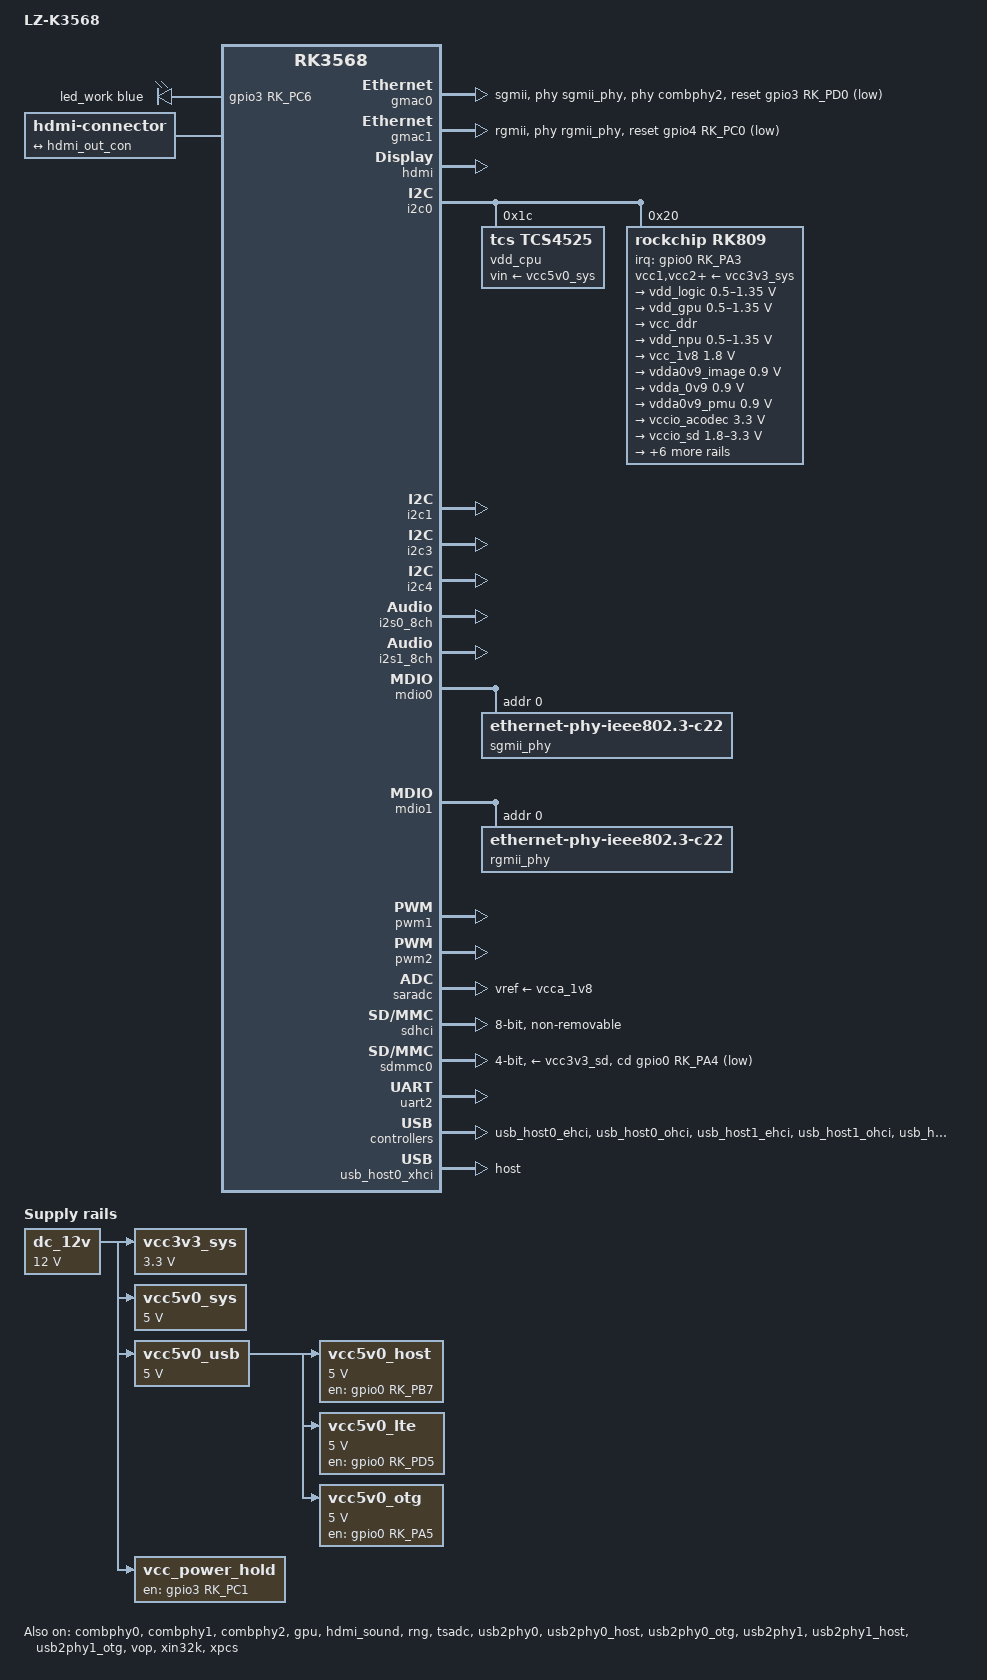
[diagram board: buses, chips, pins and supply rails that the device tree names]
// SPDX-License-Identifier: (GPL-2.0+ OR MIT)
/*
 * Copyright (c) 2021 Rockchip Electronics Co., Ltd.
 *
 */

/dts-v1/;
#include <dt-bindings/gpio/gpio.h>
#include <dt-bindings/leds/common.h>
#include <dt-bindings/pinctrl/rockchip.h>
#include <dt-bindings/soc/rockchip,vop2.h>
#include "rk3568.dtsi"

/ {
	model = "LZ-K3568";
	compatible = "rockchip,rk3568-evb1-v10", "rockchip,rk3568";

	aliases {
		ethernet0 = &gmac0;
		ethernet1 = &gmac1;
		mmc0 = &sdmmc0;
		mmc1 = &sdhci;
	};

	chosen: chosen {
		stdout-path = "serial2:1500000n8";
	};

	leds {
		compatible = "gpio-leds";

		led_work: led-0 {
			gpios = <&gpio3 RK_PC6 GPIO_ACTIVE_HIGH>; // bsp
			function = LED_FUNCTION_HEARTBEAT;
			color = <LED_COLOR_ID_BLUE>;
			linux,default-trigger = "heartbeat";
			pinctrl-names = "default";
			pinctrl-0 = <&led_work_en>;
		};
	};


	gmac0_xpcsclk: xpcs-gmac0-clock {
		compatible = "fixed-clock";
		clock-frequency = <125000000>;
		clock-output-names = "clk_gmac0_xpcs_mii";
		#clock-cells = <0>;
	};

	hdmi-con {
		compatible = "hdmi-connector";
		type = "a";

		port {
			hdmi_con_in: endpoint {
				remote-endpoint = <&hdmi_out_con>;
			};
		};
	};

	rk809-sound {
		compatible = "simple-audio-card";
		simple-audio-card,format = "i2s";
		simple-audio-card,name = "Analog RK809";
		simple-audio-card,mclk-fs = <256>;

		simple-audio-card,cpu {
			sound-dai = <&i2s1_8ch>;
		};
		simple-audio-card,codec {
			sound-dai = <&rk809>;
		};
	};

	dc_12v: dc-12v {
		compatible = "regulator-fixed";
		regulator-name = "dc_12v";
		regulator-always-on;
		regulator-boot-on;
		regulator-min-microvolt = <12000000>;
		regulator-max-microvolt = <12000000>;
	};

	vcc3v3_sys: vcc3v3-sys {
		compatible = "regulator-fixed";
		regulator-name = "vcc3v3_sys";
		regulator-always-on;
		regulator-boot-on;
		regulator-min-microvolt = <3300000>;
		regulator-max-microvolt = <3300000>;
		vin-supply = <&dc_12v>;
	};

	vcc5v0_sys: vcc5v0-sys {
		compatible = "regulator-fixed";
		regulator-name = "vcc5v0_sys";
		regulator-always-on;
		regulator-boot-on;
		regulator-min-microvolt = <5000000>;
		regulator-max-microvolt = <5000000>;
		vin-supply = <&dc_12v>;
	};

	vcc5v0_usb: vcc5v0-usb {
		compatible = "regulator-fixed";
		regulator-name = "vcc5v0_usb";
		regulator-always-on;
		regulator-boot-on;
		regulator-min-microvolt = <5000000>;
		regulator-max-microvolt = <5000000>;
		vin-supply = <&dc_12v>;
	};

	vcc5v0_host: vcc5v0-host-regulator {
		compatible = "regulator-fixed";
		enable-active-high;
		gpio = <&gpio0 RK_PB7 GPIO_ACTIVE_HIGH>; // bsp
		pinctrl-names = "default";
		pinctrl-0 = <&vcc5v0_host_en>;
		regulator-name = "vcc5v0_host";
		regulator-min-microvolt = <5000000>;
		regulator-max-microvolt = <5000000>;
		vin-supply = <&vcc5v0_usb>;
	};

	vcc5v0_lte: vcc5v0-lte-regulator {
		compatible = "regulator-fixed";
		enable-active-high;
		regulator-always-on;
		gpio = <&gpio0 RK_PD5 GPIO_ACTIVE_HIGH>; // bsp
		pinctrl-names = "default";
		pinctrl-0 = <&vcc5v0_lte_en>;
		regulator-name = "vcc5v0_lte";
		regulator-min-microvolt = <5000000>;
		regulator-max-microvolt = <5000000>;
		vin-supply = <&vcc5v0_usb>;
	};

	vcc5v0_otg: vcc5v0-otg-regulator {
		compatible = "regulator-fixed";
		enable-active-high;
		regulator-always-on;
		gpio = <&gpio0 RK_PA5 GPIO_ACTIVE_HIGH>; // bsp
		pinctrl-names = "default";
		pinctrl-0 = <&vcc5v0_otg_en>;
		regulator-name = "vcc5v0_otg";
		regulator-min-microvolt = <5000000>;
		regulator-max-microvolt = <5000000>;
		vin-supply = <&vcc5v0_usb>;
	};

	vcc_power_hold: regulator-vcc-power-hold {
		compatible = "regulator-fixed";
		enable-active-high;
		regulator-always-on;
		gpio = <&gpio3 RK_PC1 GPIO_ACTIVE_HIGH>; // bsp
		pinctrl-names = "default";
		pinctrl-0 = <&hold_gpio>;
		regulator-name = "vcc_power_hold";
		vin-supply = <&dc_12v>;
	};
/*
	sdio_pwrseq: sdio-pwrseq {
		compatible = "mmc-pwrseq-simple";
		pinctrl-names = "default";
		pinctrl-0 = <&wifi_enable_h>;
		reset-gpios = <&gpio2 RK_PB1 GPIO_ACTIVE_LOW>;  // bsp
		post-power-on-delay-ms = <200>;
	};
*/
};

&combphy0 {
	status = "okay";
};

&combphy1 {
	status = "okay";
};

&combphy2 {
	rockchip,sgmii-mac-sel = <0>; /* Use gmac0 for sgmii */
	status = "okay";
};

&cpu0 {
	cpu-supply = <&vdd_cpu>;
};

&cpu1 {
	cpu-supply = <&vdd_cpu>;
};

&cpu2 {
	cpu-supply = <&vdd_cpu>;
};

&cpu3 {
	cpu-supply = <&vdd_cpu>;
};

&gmac0 {
	assigned-clocks = <&cru SCLK_GMAC0_RX_TX>;
	assigned-clock-parents = <&gmac0_xpcsclk>;
	power-domains = <&power RK3568_PD_PIPE>;
	phys = <&combphy2 PHY_TYPE_SGMII>;
	phy-handle = <&sgmii_phy>;
	phy-mode = "sgmii";
	pinctrl-names = "default";
	pinctrl-0 = <&gmac0_miim>;
	rockchip,xpcs = <&xpcs>;
	rockchip,pipegrf = <&pipegrf>;
	snps,reset-gpio = <&gpio3 RK_PD0 GPIO_ACTIVE_LOW>; // bsp
	snps,reset-active-low;
	snps,reset-delays-us = <0 20000 100000>;
	// tx_delay = <0xff>;
	// rx_delay = <0xff>;
	status = "okay";
};

&gmac1 {
	assigned-clocks = <&cru SCLK_GMAC1_RX_TX>, <&cru SCLK_GMAC1>;
	assigned-clock-parents = <&cru SCLK_GMAC1_RGMII_SPEED>;
	assigned-clock-rates = <0>, <125000000>;
	clock_in_out = "output";
	phy-handle = <&rgmii_phy>;
	phy-mode = "rgmii";
	pinctrl-names = "default";
	pinctrl-0 = <&gmac1m1_miim
			&gmac1m1_tx_bus2
			&gmac1m1_rx_bus2
			&gmac1m1_rgmii_clk
			&gmac1m1_rgmii_bus>;
	snps,reset-gpio = <&gpio4 RK_PC0 GPIO_ACTIVE_LOW>; // bsp
	snps,reset-active-low;
	snps,reset-delays-us = <0 20000 100000>;
	tx_delay = <0x4e>;
	rx_delay = <0x0b>;
	status = "okay";
};

&gpu {
	mali-supply = <&vdd_gpu>;
	status = "okay";
};

&hdmi {
	avdd-0v9-supply = <&vdda0v9_image>;
	avdd-1v8-supply = <&vcca1v8_image>;
	status = "okay";
};

&hdmi_in {
	hdmi_in_vp0: endpoint {
		remote-endpoint = <&vp0_out_hdmi>;
	};
};

&hdmi_out {
	hdmi_out_con: endpoint {
		remote-endpoint = <&hdmi_con_in>;
	};
};

&hdmi_sound {
	status = "okay";
};

&i2c0 {
	status = "okay";

	vdd_cpu: regulator@1c {
		compatible = "tcs,tcs4525";
		reg = <0x1c>;
		fcs,suspend-voltage-selector = <1>;
		regulator-name = "vdd_cpu";
		regulator-always-on;
		regulator-boot-on;
		regulator-min-microvolt = <800000>;
		regulator-max-microvolt = <1150000>;
		regulator-ramp-delay = <2300>;
		vin-supply = <&vcc5v0_sys>;

		regulator-state-mem {
			regulator-off-in-suspend;
		};
	};

	rk809: pmic@20 {
		compatible = "rockchip,rk809";
		reg = <0x20>;
		interrupt-parent = <&gpio0>;
		interrupts = <RK_PA3 IRQ_TYPE_LEVEL_LOW>;
		assigned-clocks = <&cru I2S1_MCLKOUT_TX>;
		assigned-clock-parents = <&cru CLK_I2S1_8CH_TX>;
		#clock-cells = <1>;
		clock-output-names = "rk808-clkout1", "rk808-clkout2";
		clocks = <&cru I2S1_MCLKOUT_TX>;
		pinctrl-names = "default";
		pinctrl-0 = <&pmic_int>, <&i2s1m0_mclk>;
		system-power-controller;
		#sound-dai-cells = <0>;
		vcc1-supply = <&vcc3v3_sys>;
		vcc2-supply = <&vcc3v3_sys>;
		vcc3-supply = <&vcc3v3_sys>;
		vcc4-supply = <&vcc3v3_sys>;
		vcc5-supply = <&vcc3v3_sys>;
		vcc6-supply = <&vcc3v3_sys>;
		vcc7-supply = <&vcc3v3_sys>;
		vcc8-supply = <&vcc3v3_sys>;
		vcc9-supply = <&vcc3v3_sys>;
		wakeup-source;

		regulators {
			vdd_logic: DCDC_REG1 {
				regulator-name = "vdd_logic";
				regulator-always-on;
				regulator-boot-on;
				regulator-initial-mode = <0x2>;
				regulator-min-microvolt = <500000>;
				regulator-max-microvolt = <1350000>;
				regulator-ramp-delay = <6001>;

				regulator-state-mem {
					regulator-off-in-suspend;
				};
			};

			vdd_gpu: DCDC_REG2 {
				regulator-name = "vdd_gpu";
				regulator-always-on;
				regulator-initial-mode = <0x2>;
				regulator-min-microvolt = <500000>;
				regulator-max-microvolt = <1350000>;
				regulator-ramp-delay = <6001>;

				regulator-state-mem {
					regulator-off-in-suspend;
				};
			};

			vcc_ddr: DCDC_REG3 {
				regulator-name = "vcc_ddr";
				regulator-always-on;
				regulator-boot-on;
				regulator-initial-mode = <0x2>;

				regulator-state-mem {
					regulator-on-in-suspend;
				};
			};

			vdd_npu: DCDC_REG4 {
				regulator-name = "vdd_npu";
				regulator-initial-mode = <0x2>;
				regulator-min-microvolt = <500000>;
				regulator-max-microvolt = <1350000>;
				regulator-ramp-delay = <6001>;

				regulator-state-mem {
					regulator-off-in-suspend;
				};
			};

			vcc_1v8: DCDC_REG5 {
				regulator-name = "vcc_1v8";
				regulator-always-on;
				regulator-boot-on;
				regulator-min-microvolt = <1800000>;
				regulator-max-microvolt = <1800000>;

				regulator-state-mem {
					regulator-off-in-suspend;
				};
			};

			vdda0v9_image: LDO_REG1 {
				regulator-name = "vdda0v9_image";
				regulator-min-microvolt = <900000>;
				regulator-max-microvolt = <900000>;

				regulator-state-mem {
					regulator-off-in-suspend;
				};
			};

			vdda_0v9: LDO_REG2 {
				regulator-name = "vdda_0v9";
				regulator-always-on;
				regulator-boot-on;
				regulator-min-microvolt = <900000>;
				regulator-max-microvolt = <900000>;

				regulator-state-mem {
					regulator-off-in-suspend;
				};
			};

			vdda0v9_pmu: LDO_REG3 {
				regulator-name = "vdda0v9_pmu";
				regulator-always-on;
				regulator-boot-on;
				regulator-min-microvolt = <900000>;
				regulator-max-microvolt = <900000>;

				regulator-state-mem {
					regulator-on-in-suspend;
					regulator-suspend-microvolt = <900000>;
				};
			};

			vccio_acodec: LDO_REG4 {
				regulator-name = "vccio_acodec";
				regulator-always-on;
				regulator-min-microvolt = <3300000>;
				regulator-max-microvolt = <3300000>;

				regulator-state-mem {
					regulator-off-in-suspend;
				};
			};

			vccio_sd: LDO_REG5 {
				regulator-name = "vccio_sd";
				regulator-min-microvolt = <1800000>;
				regulator-max-microvolt = <3300000>;

				regulator-state-mem {
					regulator-off-in-suspend;
				};
			};

			vcc3v3_pmu: LDO_REG6 {
				regulator-name = "vcc3v3_pmu";
				regulator-always-on;
				regulator-boot-on;
				regulator-min-microvolt = <3300000>;
				regulator-max-microvolt = <3300000>;

				regulator-state-mem {
					regulator-on-in-suspend;
					regulator-suspend-microvolt = <3300000>;
				};
			};

			vcca_1v8: LDO_REG7 {
				regulator-name = "vcca_1v8";
				regulator-always-on;
				regulator-boot-on;
				regulator-min-microvolt = <1800000>;
				regulator-max-microvolt = <1800000>;

				regulator-state-mem {
					regulator-off-in-suspend;
				};
			};

			vcca1v8_pmu: LDO_REG8 {
				regulator-name = "vcca1v8_pmu";
				regulator-always-on;
				regulator-boot-on;
				regulator-min-microvolt = <1800000>;
				regulator-max-microvolt = <1800000>;

				regulator-state-mem {
					regulator-on-in-suspend;
					regulator-suspend-microvolt = <1800000>;
				};
			};

			vcca1v8_image: LDO_REG9 {
				regulator-name = "vcca1v8_image";
				regulator-min-microvolt = <1800000>;
				regulator-max-microvolt = <1800000>;

				regulator-state-mem {
					regulator-off-in-suspend;
				};
			};

			vcc_3v3: SWITCH_REG1 {
				regulator-name = "vcc_3v3";
				regulator-always-on;
				regulator-boot-on;

				regulator-state-mem {
					regulator-off-in-suspend;
				};
			};

			vcc3v3_sd: SWITCH_REG2 {
				regulator-name = "vcc3v3_sd";
				regulator-always-on;
				regulator-boot-on;

				regulator-state-mem {
					regulator-off-in-suspend;
				};
			};
		};

		codec {
			rockchip,mic-in-differential;
		};
	};
};

&i2c1 {
	status = "okay";
};

&i2c3 {
	status = "okay";
};

&i2c4 {
	status = "okay";
};

&i2s0_8ch {
	status = "okay";
};

&i2s1_8ch {
	rockchip,trcm-sync-tx-only;
	status = "okay";
};

&mdio0 {
	sgmii_phy: ethernet-phy@0 {
		compatible = "ethernet-phy-ieee802.3-c22";
		reg = <0x0>;
	};
};

&mdio1 {
	rgmii_phy: ethernet-phy@0 {
		compatible = "ethernet-phy-ieee802.3-c22";
		reg = <0x0>;
	};
};


&pinctrl {

	leds {
		led_work_en: led_work_en {
			rockchip,pins = <3 RK_PC6 RK_FUNC_GPIO &pcfg_pull_none>; // bsp
		};
	};

	pmic {
		pmic_int: pmic_int {
			rockchip,pins = <0 RK_PA3 RK_FUNC_GPIO &pcfg_pull_up>; // bsp
		};
	};

	usb {
		vcc5v0_host_en: vcc5v0-host-en {
			rockchip,pins = <0 RK_PB7 RK_FUNC_GPIO &pcfg_pull_none>; // bsp
		};
		vcc5v0_lte_en: vcc5v0_lte_en {
			rockchip,pins = <0 RK_PD5 RK_FUNC_GPIO &pcfg_pull_none>; // bsp
		};
		vcc5v0_lte_rst: vcc5v0_lte_rst {
			rockchip,pins = <0 RK_PD6 RK_FUNC_GPIO &pcfg_pull_none>; // bsp
		};
		vcc5v0_otg_en: vcc5v0-otg-en {
			rockchip,pins = <0 RK_PA5 RK_FUNC_GPIO &pcfg_pull_none>; // bsp
		};
	};

	pwr-hold {
		hold_gpio: hold-gpio {
			rockchip,pins = <3 RK_PC1 RK_FUNC_GPIO &pcfg_pull_none>; // bsp
		};
	};

	sdio-pwrseq {
		wifi_enable_h: wifi-enable-h {
			rockchip,pins = <2 RK_PB1 RK_FUNC_GPIO &pcfg_pull_none>;
		};
	};
};

&pmu_io_domains {
	pmuio1-supply = <&vcc3v3_pmu>;
	pmuio2-supply = <&vcc3v3_pmu>;
	vccio1-supply = <&vccio_acodec>;
	vccio2-supply = <&vcc_1v8>;
	vccio3-supply = <&vccio_sd>;
	vccio4-supply = <&vcc_3v3>;
	vccio5-supply = <&vcc_3v3>;
	vccio6-supply = <&vcc_3v3>;
	vccio7-supply = <&vcc_3v3>;
	status = "okay";
};

&pwm1 {
	status = "okay";
};

&pwm2 {
	status = "okay";
};

&rng {
	status = "okay";
};

&saradc {
	vref-supply = <&vcca_1v8>;
	status = "okay";
};

&sdhci {
	bus-width = <8>;
	max-frequency = <200000000>;
	non-removable;
	pinctrl-names = "default";
	pinctrl-0 = <&emmc_bus8 &emmc_clk &emmc_cmd &emmc_datastrobe>;
	status = "okay";
};

&sdmmc0 {
	bus-width = <4>;
	cap-sd-highspeed;
	cd-gpios = <&gpio0 RK_PA4 GPIO_ACTIVE_LOW>;
	disable-wp;
	pinctrl-names = "default";
	pinctrl-0 = <&sdmmc0_bus4 &sdmmc0_clk &sdmmc0_cmd &sdmmc0_det>;
	sd-uhs-sdr104;
	vmmc-supply = <&vcc3v3_sd>;
	vqmmc-supply = <&vccio_sd>;
	status = "okay";
};

&tsadc {
	rockchip,hw-tshut-mode = <1>;
	rockchip,hw-tshut-polarity = <0>;
	status = "okay";
};

&uart2 {
	status = "okay";
};

// &uart3 {
// 	status = "okay";
// };

// &uart4 {
// 	status = "okay";
// };

&usb_host0_ehci {
	status = "okay";
};

&usb_host0_ohci {
	status = "okay";
};

&usb_host0_xhci {
	extcon = <&usb2phy0>;
	dr_mode = "host";
	status = "okay";
};

&usb_host1_ehci {
	status = "okay";
};

&usb_host1_ohci {
	status = "okay";
};

&usb_host1_xhci {
	status = "okay";
};

&usb2phy0 {
	status = "okay";
};

&usb2phy0_host {
	phy-supply = <&vcc5v0_host>;
	status = "okay";
};

&usb2phy0_otg {
	phy-supply = <&vcc5v0_otg>;
	status = "okay";
};

&usb2phy1 {
	status = "okay";
};

&usb2phy1_host {
	phy-supply = <&vcc5v0_host>;
	status = "okay";
};

&usb2phy1_otg {
	phy-supply = <&vcc5v0_host>;
	status = "okay";
};

&vop {
	assigned-clocks = <&cru DCLK_VOP0>, <&cru DCLK_VOP1>;
	assigned-clock-parents = <&pmucru PLL_HPLL>, <&cru PLL_VPLL>;
	status = "okay";
};

&vop_mmu {
	status = "okay";
};

&vp0 {
	vp0_out_hdmi: endpoint@ROCKCHIP_VOP2_EP_HDMI0 {
		reg = <ROCKCHIP_VOP2_EP_HDMI0>;
		remote-endpoint = <&hdmi_in_vp0>;
	};
};

&xin32k {
	clock-frequency = <32768>;
	clock-output-names = "xin32k";
	pinctrl-0 = <&clk32k_out1>;
	pinctrl-names = "default";
	status = "okay";
};

&xpcs {
	status = "okay";
};
